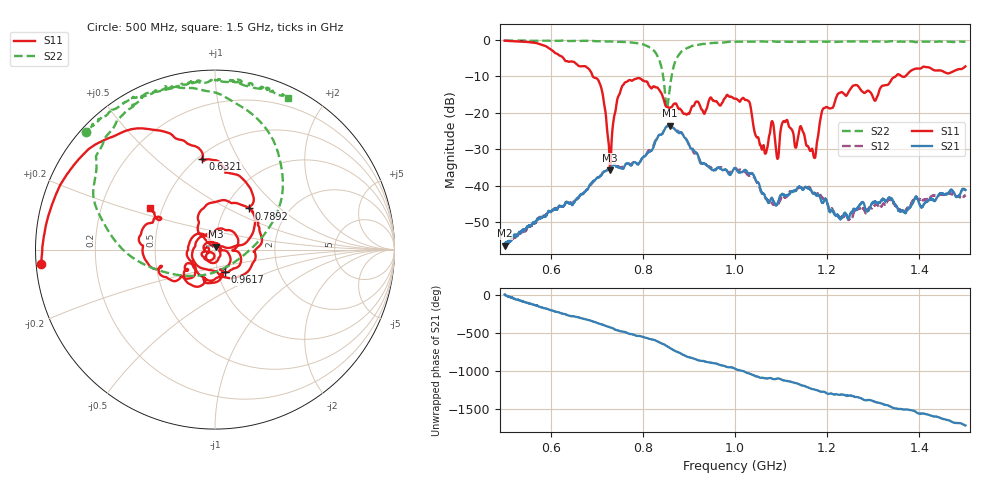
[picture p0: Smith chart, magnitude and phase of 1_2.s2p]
!Agilent Technologies,E8364B,US42250235,A.06.04.32
!Agilent E8364B: A.06.04.32
!Date: Thursday, October 01, 2020 11:00:50
!Correction: S11(Full 2 Port(1,2)) S21(Full 2 Port(1,2)) S12(Full 2 Port(1,2)) S22(Full 2 Port(1,2))
!S2P File: Measurements: S11, S21, S12, S22:
# Hz S  dB  R 50
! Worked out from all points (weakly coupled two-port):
!   2650 points, 500 MHz to 1.5 GHz, reference 50 ohm
!   highest |S21| = -23.54 dB at 858.6 MHz (marker M1); lowest = -56.4 dB at 500 MHz (marker M2)
!   lowest |S11| = -35.8 dB at 729.1 MHz (marker M3), VSWR 1.03, Z = 50.3 + j1.61 ohm
!   |S11| at or under -10 dB: 691.1 MHz to 1.349 GHz (658 MHz wide, 64.5 % of centre); 1.362 GHz to 1.37 GHz (7.997 MHz wide, 0.586 % of centre)
!   |S22| runs from -18.8 to -0.2 dB; largest |S21 - S12| = 0.0036
!   S11 on the Smith chart (normalised r, x): 500 MHz: 0.01, -0.04; 632.1 MHz: 0.53, +0.72; 789.2 MHz: 1.29, +0.65; 961.7 MHz: 1.08, -0.28; 1.5 GHz: 0.43, +0.24
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5e8  -0.25 -175.4  -56.43 6.4  -56.56 -1.9  -0.25 137.7
5.856927e8  -1.59 128.0  -48.31 -172.3  -48.17 -172.4  -0.27 130.7
6.321253e8  -5.81 97.8  -44.68 108.1  -44.69 107.6  -0.34 125.5
6.668554e8  -7.24 80.5  -42.29 54.0  -42.38 52.8  -0.33 119.3
7.07248e8  -12.20 27.8  -37.31 -18.6  -37.42 -17.9  -0.42 116.6
7.291431e8  -35.78 79.5  -35.42 -64.1  -35.04 -65.2  -0.46 112.6
7.506606e8  -14.43 119.7  -35.18 -114.2  -34.94 -113.2  -0.58 107.5
7.891657e8  -10.52 50.4  -34.18 -176.7  -33.99 -177.2  -1.02 94.3
8.337108e8  -13.41 -39.7  -26.32 105.0  -26.40 103.1  -4.99 48.2
8.510759e8  -18.36 -86.3  -23.88 52.5  -23.79 51.8  -18.25 -40.7
8.586259e8  -18.65 -101.5  -23.54 24.2  -23.30 22.8  -13.14 -138.5
8.87316e8  -20.12 128.0  -26.08 -65.4  -26.21 -66.1  -2.87 158.9
9.616837e8  -17.18 -66.5  -35.09 175.2  -35.16 175.1  -0.83 124.6
1.000189e9  -16.14 -135.6  -35.17 111.3  -35.18 110.1  -0.63 116.7
1.029256e9  -16.76 155.6  -36.72 52.0  -37.17 50.4  -0.53 113.8
1.062854e9  -29.31 43.9  -42.18 -10.0  -42.74 -8.0  -0.49 110.1
1.092299e9  -32.63 -128.2  -44.89 -17.2  -45.18 -19.3  -0.59 106.6
1.109287e9  -22.52 -147.4  -42.72 -44.6  -43.22 -38.4  -0.57 105.3
1.166667e9  -29.93 2.9  -41.61 -153.9  -41.63 -149.9  -0.51 98.8
1.225557e9  -14.66 -93.2  -48.64 129.7  -48.50 129.1  -0.53 91.6
1.333522e9  -12.17 -141.1  -43.33 -14.7  -43.83 -4.2  -0.47 81.0
1.5e9  -7.31 147.4  -41.17 86.6  -42.66 93.2  -0.54 64.2
